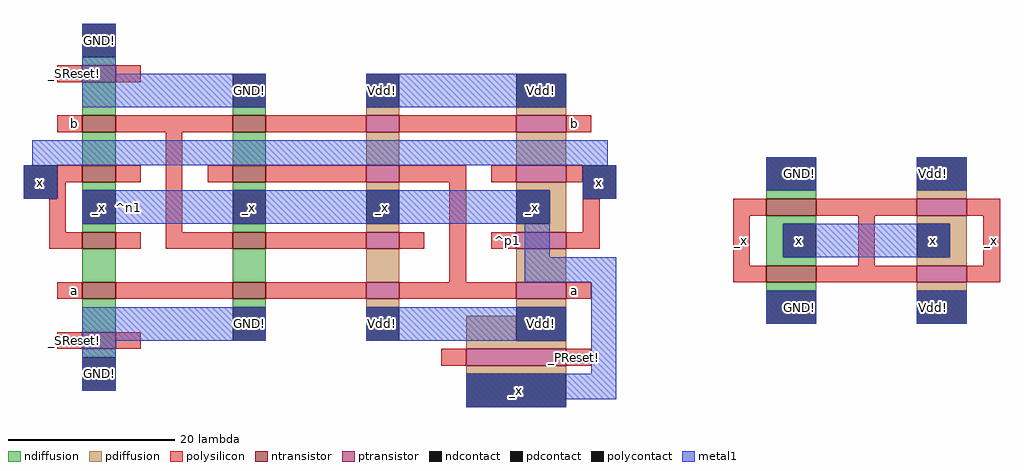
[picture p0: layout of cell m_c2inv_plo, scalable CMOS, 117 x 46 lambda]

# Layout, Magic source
magic
tech scmos
<< ndiffusion >>
rect 110 33 114 34
rect 110 27 114 31
rect 128 27 132 28
rect 110 21 114 25
rect 110 18 114 19
rect 110 13 114 14
rect 128 21 132 25
rect 128 18 132 19
rect 128 13 132 14
rect 110 7 114 11
rect 128 7 132 11
rect 192 17 198 18
rect 192 14 198 15
rect 192 10 194 14
rect 192 9 198 10
rect 192 6 198 7
rect 110 1 114 5
rect 128 4 132 5
rect 110 -2 114 -1
<< pdiffusion >>
rect 144 27 148 28
rect 162 27 168 28
rect 144 21 148 25
rect 162 21 168 25
rect 144 18 148 19
rect 144 13 148 14
rect 144 7 148 11
rect 162 18 168 19
rect 166 14 168 18
rect 162 13 168 14
rect 210 17 216 18
rect 162 7 168 11
rect 210 14 216 15
rect 214 10 216 14
rect 210 9 216 10
rect 144 4 148 5
rect 162 4 168 5
rect 156 0 162 3
rect 210 6 216 7
rect 156 -1 168 0
rect 156 -4 168 -3
<< ntransistor >>
rect 110 31 114 33
rect 110 25 114 27
rect 128 25 132 27
rect 110 19 114 21
rect 128 19 132 21
rect 110 11 114 13
rect 128 11 132 13
rect 192 15 198 17
rect 192 7 198 9
rect 110 5 114 7
rect 128 5 132 7
rect 110 -1 114 1
<< ptransistor >>
rect 144 25 148 27
rect 162 25 168 27
rect 144 19 148 21
rect 162 19 168 21
rect 144 11 148 13
rect 162 11 168 13
rect 210 15 216 17
rect 210 7 216 9
rect 144 5 148 7
rect 162 5 168 7
rect 156 -3 168 -1
<< polysilicon >>
rect 107 31 110 33
rect 114 31 117 33
rect 107 25 110 27
rect 114 25 128 27
rect 132 25 144 27
rect 148 25 162 27
rect 168 25 171 27
rect 107 19 110 21
rect 114 19 117 21
rect 107 17 108 19
rect 106 13 108 17
rect 120 13 122 25
rect 125 19 128 21
rect 132 19 144 21
rect 148 19 156 21
rect 159 19 162 21
rect 168 19 170 21
rect 106 11 110 13
rect 114 11 117 13
rect 120 11 128 13
rect 132 11 144 13
rect 148 11 151 13
rect 154 7 156 19
rect 170 13 172 17
rect 159 11 162 13
rect 168 11 172 13
rect 188 15 192 17
rect 198 15 210 17
rect 216 15 220 17
rect 188 9 190 15
rect 203 9 205 15
rect 218 9 220 15
rect 188 7 192 9
rect 198 7 210 9
rect 216 7 220 9
rect 107 5 110 7
rect 114 5 128 7
rect 132 5 144 7
rect 148 5 162 7
rect 168 5 171 7
rect 107 -1 110 1
rect 114 -1 117 1
rect 153 -3 156 -1
rect 168 -3 171 -1
<< ndcontact >>
rect 110 34 114 38
rect 128 28 132 32
rect 110 14 114 18
rect 128 14 132 18
rect 192 18 198 22
rect 194 10 198 14
rect 128 0 132 4
rect 192 2 198 6
rect 110 -6 114 -2
<< pdcontact >>
rect 144 28 148 32
rect 162 28 168 32
rect 144 14 148 18
rect 162 14 166 18
rect 210 18 216 22
rect 210 10 214 14
rect 144 0 148 4
rect 162 0 168 4
rect 210 2 216 6
rect 156 -8 168 -4
<< polycontact >>
rect 103 17 107 21
rect 170 17 174 21
<< metal1 >>
rect 110 32 114 38
rect 110 28 132 32
rect 144 28 168 32
rect 104 21 173 24
rect 103 17 107 21
rect 110 14 166 18
rect 170 17 174 21
rect 192 18 198 22
rect 210 18 216 22
rect 163 10 166 14
rect 194 10 214 14
rect 163 7 174 10
rect 110 0 132 4
rect 144 0 168 4
rect 110 -6 114 0
rect 171 -4 174 7
rect 192 2 198 6
rect 210 2 216 6
rect 156 -7 174 -4
rect 156 -8 168 -7
<< labels >>
rlabel polysilicon 169 26 169 26 1 b
rlabel polysilicon 169 6 169 6 1 a
rlabel polysilicon 109 26 109 26 3 b
rlabel polysilicon 109 6 109 6 1 a
rlabel polysilicon 109 32 109 32 1 _SReset!
rlabel polysilicon 109 0 109 0 1 _SReset!
rlabel polysilicon 169 -2 169 -2 5 _PReset!
rlabel space 102 -7 129 39 7 ^n1
rlabel space 147 -9 175 33 3 ^p1
rlabel polysilicon 189 12 189 12 1 _x
rlabel polysilicon 219 12 219 12 7 _x
rlabel space 187 1 195 23 7 ^n2
rlabel space 213 1 221 23 3 ^p2
rlabel pdcontact 165 2 165 2 1 Vdd!
rlabel pdcontact 165 30 165 30 1 Vdd!
rlabel pdcontact 146 2 146 2 1 Vdd!
rlabel pdcontact 146 30 146 30 1 Vdd!
rlabel ndcontact 112 36 112 36 5 GND!
rlabel ndcontact 112 -4 112 -4 1 GND!
rlabel polycontact 105 19 105 19 1 x
rlabel ndcontact 112 16 112 16 1 _x
rlabel ndcontact 130 16 130 16 1 _x
rlabel pdcontact 146 16 146 16 1 _x
rlabel pdcontact 164 16 164 16 1 _x
rlabel pdcontact 162 -6 162 -6 1 _x
rlabel polycontact 172 19 172 19 1 x
rlabel ndcontact 196 4 196 4 1 GND!
rlabel ndcontact 196 20 196 20 5 GND!
rlabel pdcontact 212 20 212 20 5 Vdd!
rlabel pdcontact 212 4 212 4 1 Vdd!
rlabel ndcontact 196 12 196 12 1 x
rlabel pdcontact 212 12 212 12 1 x
rlabel ndcontact 130 2 130 2 1 GND!
rlabel ndcontact 130 30 130 30 5 GND!
<< end >>
